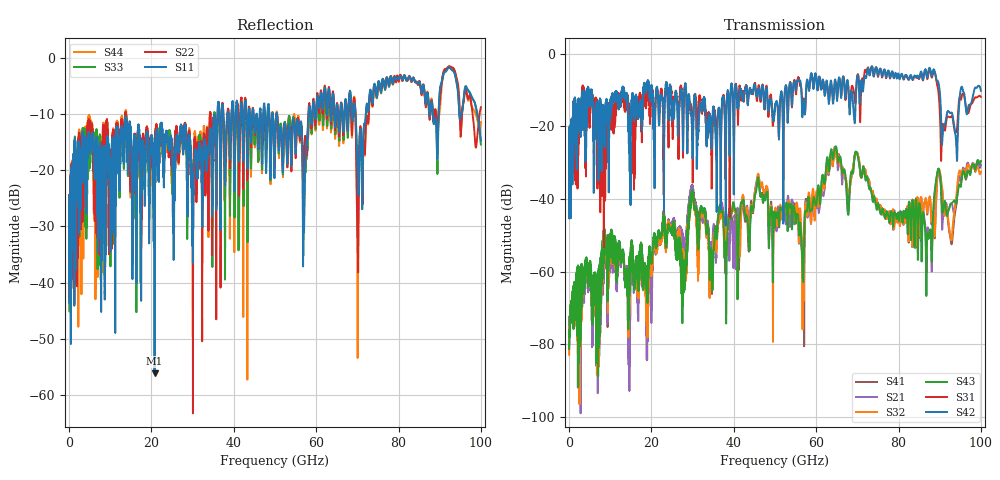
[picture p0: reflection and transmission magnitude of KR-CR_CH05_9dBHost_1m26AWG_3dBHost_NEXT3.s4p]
# GHz S MA R 50.00
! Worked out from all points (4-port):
!   10000 points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, 10 MHz to 100 GHz, reference 50 ohm
!   strongest paths, dB at 10 MHz, 25.01 GHz, 50.01 GHz, 75.01 GHz, 100 GHz:
!     S42: -28.5, -16.1, -14.7, -6.1, -10.2
!     S31: -28.4, -15.6, -14.4, -6.4, -11.9
!     S43: -81.3, -48.3, -46.2, -41.2, -29.5
!     S32: -82.9, -47.5, -43.6, -42.7, -32.5
!     S21: -81.2, -46.4, -42.9, -41.3, -30.7
!     S41: -80.1, -46.8, -43.8, -42.7, -30.6
!   lowest |S11| = -56.2 dB at 20.76 GHz (marker M1), VSWR 1.00, Z = 50.1 - j0.118 ohm
!   |S11| at or under -10 dB: start of sweep to 36.01 GHz; 50.49 GHz to 58.15 GHz (7.66 GHz wide, 14.1 % of centre); 69.55 GHz to 72.06 GHz (2.509 GHz wide, 3.54 % of centre)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
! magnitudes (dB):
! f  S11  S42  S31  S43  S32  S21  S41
! 10 MHz  -24.4  -28.5  -28.4  -81.3  -82.9  -81.2  -80.1
! 20.76 GHz  -56.2  -33.3  -23.5  -49.8  -50.9  -51.9  -50.7
! 45.99 GHz  -16.3  -9.5  -8.9  -34.4  -33.3  -33.4  -34.1
! 56.74 GHz  -24.4  -14.8  -15.3  -61.2  -64.7  -58.3  -67.0
! 64.66 GHz  -12.2  -7.2  -7.8  -25.7  -26.2  -26.4  -26.1
! 87.04 GHz  -6.2  -6.5  -6.9  -49.4  -43.3  -48.0  -43.7
! 100 GHz  -14.7  -10.2  -11.9  -29.5  -32.5  -30.7  -30.6
